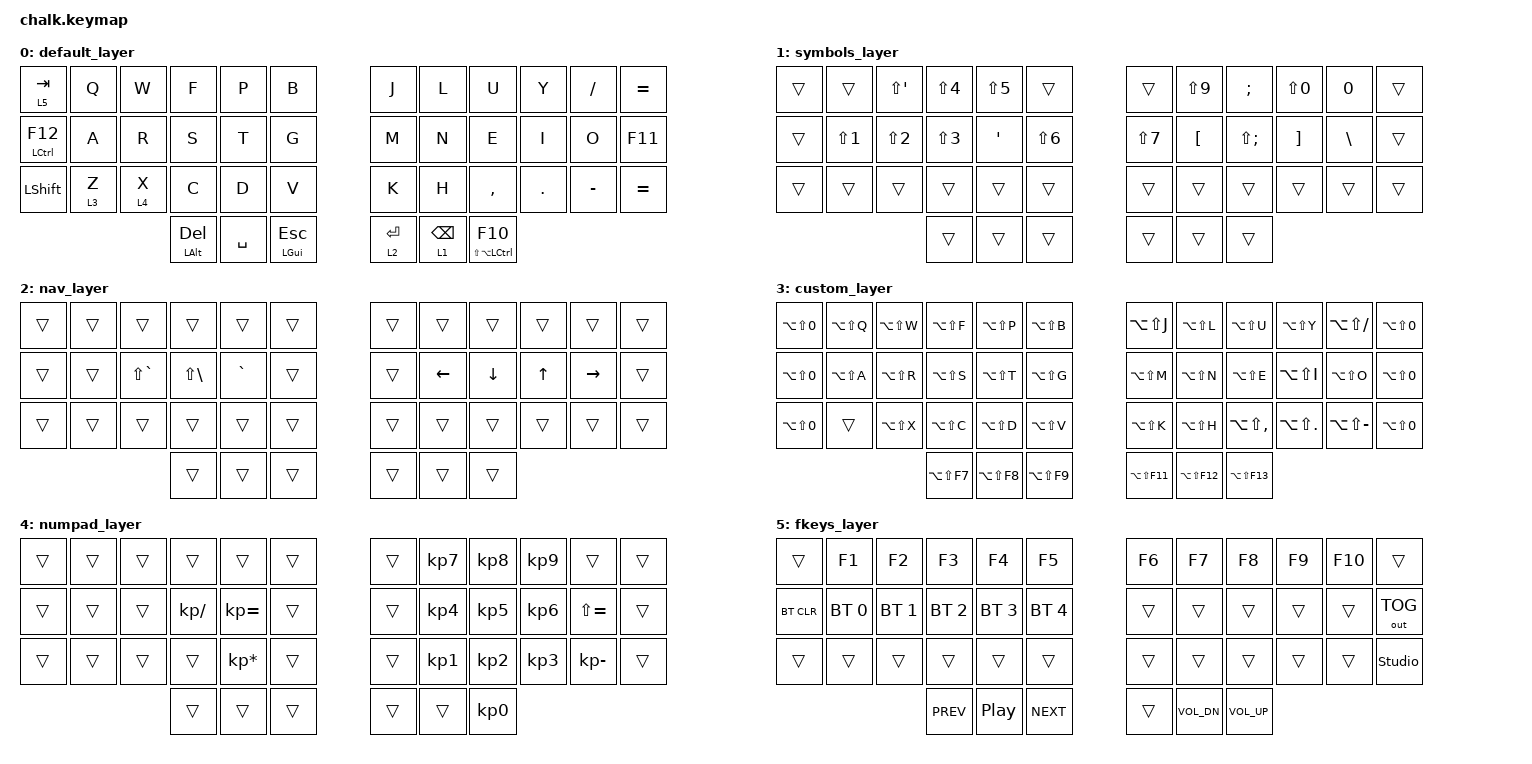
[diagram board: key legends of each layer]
/*
 * Copyright (c) 2020 The ZMK Contributors
 *
 * SPDX-License-Identifier: MIT
 */

#include <behaviors.dtsi>
#include <dt-bindings/zmk/keys.h>
#include <dt-bindings/zmk/bt.h>
#include <dt-bindings/zmk/outputs.h>
/ {
        behaviors {
            lt_hp: layer_tap_hold_preferred {
                compatible = "zmk,behavior-hold-tap";
                label = "LAYER_TAP_HOLD_PREFERRED";
                #binding-cells = <2>;
                tapping-term-ms = <200>;
                quick-tap-ms = <150>;
                flavor = "hold-preferred";
                bindings = <&mo>, <&kp>;
            };
            mt_tp: mod_tap_tap_preferred {
                compatible = "zmk,behavior-hold-tap";
                label = "MOD_TAP_TAP_PREFERRED";
                #binding-cells = <2>;
                tapping-term-ms = <200>;
                quick-tap-ms = <150>;
                flavor = "tap-preferred";
                bindings = <&kp>, <&kp>;
            };
        };

        combos {
            compatible = "zmk,combos";
        };

        keymap {
                compatible = "zmk,keymap";

                // Layer 0: Default Colemak-DH
                default_layer {
                        bindings = <
                            &lt 5 TAB      &kp Q  &kp W  &kp F  &kp P  &kp B       &kp J  &kp L  &kp U          &kp Y       &kp FSLH   &kp EQUAL
                            &mt LCTRL F12  &kp A  &kp R  &kp S  &kp T  &kp G       &kp M  &kp N  &kp E          &kp I       &kp O         &kp F11
                            &kp LSHFT      &lt 3 Z  &lt 4 X  &kp C  &kp D  &kp V       &kp K  &kp H  &kp COMMA      &kp DOT     &kp MINUS     &kp EQUAL
                                                  &mt LALT DEL  &kp SPACE  &mt LGUI ESC    &lt 2 RET  &lt 1 BSPC  &mt LS(LA(LCTRL)) F10
                        >;
                };

                // Layer 1: Symbols (accessed via LT1 on Backspace)
                symbols_layer {
                        bindings = <
                            &trans  &trans       &kp LS(SQT)    &kp LS(N4)  &kp LS(N5)  &trans        &trans       &kp LS(N9)   &kp SEMI      &kp LS(N0)  &kp N0     &trans
                            &trans  &kp LS(N1)   &kp LS(N2)     &kp LS(N3)  &kp SQT     &kp LS(N6)    &kp LS(N7)   &kp LBKT     &kp LS(SEMI)  &kp RBKT    &kp BSLH   &trans
                            &trans  &trans       &trans         &trans      &trans      &trans        &trans       &trans       &trans        &trans      &trans     &trans
                                                                &trans      &trans      &trans        &trans       &trans       &trans
                        >;
                };

                // Layer 2: Navigation + Symbols (accessed via LT2 on Enter)
                nav_layer {
                        bindings = <
                            &trans  &trans  &trans         &trans        &trans     &trans    &trans     &trans     &trans    &trans     &trans  &trans
                            &trans  &trans  &kp LS(GRAVE)  &kp LS(BSLH)  &kp GRAVE  &trans    &trans     &kp LEFT   &kp DOWN  &kp UP     &kp RIGHT  &trans
                            &trans  &trans  &trans         &trans        &trans     &trans    &trans     &trans     &trans    &trans     &trans  &trans
                                                           &trans        &trans     &trans    &trans     &trans     &trans
                        >;
                };

                // Layer 3: Custom LSA layer (accessed via LT3 on Z)
                custom_layer {
                        bindings = <
                            &kp LA(LS(N0))  &kp LA(LS(Q))  &kp LA(LS(W))  &kp LA(LS(F))  &kp LA(LS(P))  &kp LA(LS(B))    &kp LA(LS(J))    &kp LA(LS(L))    &kp LA(LS(U))         &kp LA(LS(Y))         &kp LA(LS(FSLH))     &kp LA(LS(N0))
                            &kp LA(LS(N0))  &kp LA(LS(A))  &kp LA(LS(R))  &kp LA(LS(S))  &kp LA(LS(T))  &kp LA(LS(G))    &kp LA(LS(M))    &kp LA(LS(N))    &kp LA(LS(E))         &kp LA(LS(I))         &kp LA(LS(O))           &kp LA(LS(N0))
                            &kp LA(LS(N0))  &trans         &kp LA(LS(X))  &kp LA(LS(C))  &kp LA(LS(D))  &kp LA(LS(V))    &kp LA(LS(K))    &kp LA(LS(H))    &kp LA(LS(COMMA))     &kp LA(LS(DOT))       &kp LA(LS(MINUS))       &kp LA(LS(N0))
                                                                          &kp LA(LS(F7))  &kp LA(LS(F8))  &kp LA(LS(F9))    &kp LA(LS(F11))  &kp LA(LS(F12))  &kp LA(LS(F13))
                        >;
                };

                // Layer 4: Numpad (accessed via LT4 on X)
                numpad_layer {
                        bindings = <
                            &trans  &trans  &trans  &trans        &trans          &trans    &trans        &kp KP_N7  &kp KP_N8  &kp KP_N9  &trans  &trans
                            &trans  &trans  &trans  &kp KP_SLASH  &kp KP_EQUAL    &trans    &trans        &kp KP_N4  &kp KP_N5  &kp KP_N6  &kp LS(EQUAL)  &trans
                            &trans  &trans  &trans  &trans        &kp KP_ASTERISK &trans    &trans        &kp KP_N1  &kp KP_N2  &kp KP_N3  &kp KP_MINUS   &trans
                                                    &trans        &trans          &trans    &trans        &trans     &kp KP_N0
                        >;
                };

                // Layer 5: F-keys, Media, and Bluetooth (accessed via LT5 on Tab)
                fkeys_layer {
                        bindings = <
                            &trans      &kp F1        &kp F2        &kp F3        &kp F4        &kp F5          &kp F6  &kp F7        &kp F8        &kp F9   &kp F10      &trans
                            &bt BT_CLR  &bt BT_SEL 0  &bt BT_SEL 1  &bt BT_SEL 2  &bt BT_SEL 3  &bt BT_SEL 4    &trans  &trans        &trans        &trans   &trans       &out OUT_TOG
                            &trans      &trans        &trans        &trans        &trans        &trans          &trans  &trans        &trans        &trans   &trans       &studio_unlock
                                                                    &kp C_PREV    &kp C_PP      &kp C_NEXT      &trans  &kp C_VOL_DN  &kp C_VOL_UP
                        >;
                };
        };
};
